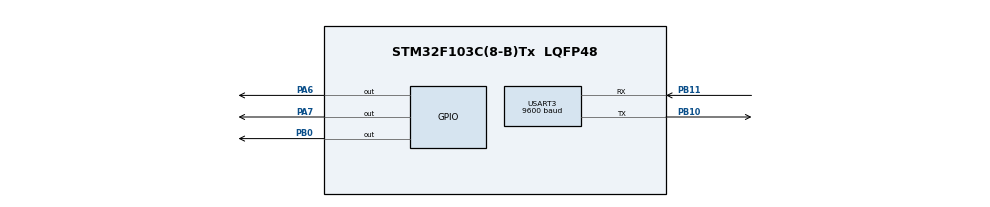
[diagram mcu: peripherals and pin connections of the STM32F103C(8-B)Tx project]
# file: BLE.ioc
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Dma.Request0=USART3_RX
Dma.Request1=USART3_TX
Dma.USART3_RX.0.Direction=DMA_PERIPH_TO_MEMORY
Dma.USART3_RX.0.Instance=DMA1_Channel3
Dma.USART3_RX.0.MemDataAlignment=DMA_MDATAALIGN_BYTE
Dma.USART3_RX.0.MemInc=DMA_MINC_ENABLE
Dma.USART3_RX.0.Mode=DMA_NORMAL
Dma.USART3_RX.0.PeriphDataAlignment=DMA_PDATAALIGN_BYTE
Dma.USART3_RX.0.PeriphInc=DMA_PINC_DISABLE
Dma.USART3_RX.0.Priority=DMA_PRIORITY_LOW
Dma.USART3_TX.1.Direction=DMA_MEMORY_TO_PERIPH
Dma.USART3_TX.1.Instance=DMA1_Channel2
Dma.USART3_TX.1.MemDataAlignment=DMA_MDATAALIGN_BYTE
Dma.USART3_TX.1.MemInc=DMA_MINC_ENABLE
Dma.USART3_TX.1.Mode=DMA_NORMAL
Dma.USART3_TX.1.PeriphDataAlignment=DMA_PDATAALIGN_BYTE
Dma.USART3_TX.1.PeriphInc=DMA_PINC_DISABLE
Dma.USART3_TX.1.Priority=DMA_PRIORITY_LOW
Mcu.Family=STM32F1
Mcu.Name=STM32F103C(8-B)Tx
Mcu.Package=LQFP48
NVIC.DMA1_Channel2_IRQn=true\:0\:0\:false\:false\:true\:false\:true\:true
NVIC.DMA1_Channel3_IRQn=true\:0\:0\:false\:false\:true\:false\:true\:true
NVIC.PriorityGroup=NVIC_PRIORITYGROUP_4
NVIC.USART3_IRQn=true\:0\:0\:false\:false\:true\:true\:true\:true
PA13.Mode=Serial_Wire
PA13.Signal=SYS_JTMS-SWDIO
PA14.Mode=Serial_Wire
PA14.Signal=SYS_JTCK-SWCLK
PA6.Signal=GPIO_Output
PA7.Signal=GPIO_Output
PB0.Signal=GPIO_Output
PB10.Mode=Asynchronous
PB10.Signal=USART3_TX
PB11.Mode=Asynchronous
PB11.Signal=USART3_RX
PD0-OSC_IN.Mode=HSE-External-Oscillator
PD0-OSC_IN.Signal=RCC_OSC_IN
PD1-OSC_OUT.Mode=HSE-External-Oscillator
PD1-OSC_OUT.Signal=RCC_OSC_OUT
ProjectManager.HeapSize=0x200
ProjectManager.StackSize=0x400
ProjectManager.TargetToolchain=MDK-ARM V5.32
RCC.APB1Freq_Value=8000000
RCC.APB2Freq_Value=8000000
USART3.BaudRate=9600
USART3.VirtualMode=VM_ASYNC
board=custom

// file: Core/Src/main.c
/* USER CODE BEGIN Header */
/**
  ******************************************************************************
  * @file           : main.c
  * @brief          : Main program body
  ******************************************************************************
  * @attention
  *
  * Copyright (c) 2026 STMicroelectronics.
  * All rights reserved.
  *
  * This software is licensed under terms that can be found in the LICENSE file
  * in the root directory of this software component.
  * If no LICENSE file comes with this software, it is provided AS-IS.
  *
  ******************************************************************************
  */
/* USER CODE END Header */
#include "main.h"
#include "dma.h"
#include "usart.h"
#include "gpio.h"

/* USER CODE BEGIN PV */
	uint8_t receivedata[50];
/* USER CODE END PV */

void SystemClock_Config(void);

/* USER CODE BEGIN 0 */
void HAL_UARTEx_RxEventCallback(UART_HandleTypeDef *huart, uint16_t Size)
{
	if(huart == &huart3)
	{
		HAL_UART_Transmit_DMA(&huart3,receivedata,Size);
		if(receivedata[0] == 0xAA)
		{
			if(receivedata[1] == Size)
			{
				uint8_t sum = 0;
				for(int i =0;i<Size -1;i++)
				{
					sum+= receivedata[i];
				}
				if(sum == receivedata[Size - 1])
				{
					for(int i =2;i<Size-1;i += 2)
					{
						GPIO_PinState state =GPIO_PIN_SET;
		if(receivedata[i+1] == 0x00)
		{
		 state = GPIO_PIN_RESET;
		}

		if(receivedata[i] == 0x01)
		{
			HAL_GPIO_WritePin(GPIOB,GPIO_PIN_0,state);
		}
		else if(receivedata[i] == 0x02)
		{
			HAL_GPIO_WritePin(GPIOA,GPIO_PIN_6, state);
		}
		else if(receivedata[i] == 0x03)
		{
			HAL_GPIO_WritePin(GPIOA,GPIO_PIN_7, state);
		}

					}
				}
			}
		}

		HAL_UARTEx_ReceiveToIdle_DMA(&huart3,receivedata,sizeof(receivedata));
		__HAL_DMA_DISABLE_IT(&hdma_usart3_rx,DMA_IT_HT);
	}
}
/* USER CODE END 0 */

int main(void)
{

  /* MCU Configuration--------------------------------------------------------*/

  /* Reset of all peripherals, Initializes the Flash interface and the Systick. */
  HAL_Init();

  /* Configure the system clock */
  SystemClock_Config();

  /* Initialize all configured peripherals */
  MX_GPIO_Init();
  MX_DMA_Init();
  MX_USART3_UART_Init();
  /* USER CODE BEGIN 2 */
	HAL_UARTEx_ReceiveToIdle_DMA(&huart3,receivedata,sizeof(receivedata));
	__HAL_DMA_DISABLE_IT(&hdma_usart3_rx,DMA_IT_HT);
  /* USER CODE END 2 */

  /* Infinite loop */
  while (1)
  {

  }
}

void SystemClock_Config(void)
{
  RCC_OscInitTypeDef RCC_OscInitStruct = {0};
  RCC_ClkInitTypeDef RCC_ClkInitStruct = {0};

  /** Initializes the RCC Oscillators according to the specified parameters
  * in the RCC_OscInitTypeDef structure.
  */
  RCC_OscInitStruct.OscillatorType = RCC_OSCILLATORTYPE_HSI;
  RCC_OscInitStruct.HSIState = RCC_HSI_ON;
  RCC_OscInitStruct.HSICalibrationValue = RCC_HSICALIBRATION_DEFAULT;
  RCC_OscInitStruct.PLL.PLLState = RCC_PLL_NONE;
  if (HAL_RCC_OscConfig(&RCC_OscInitStruct) != HAL_OK)
  {
    Error_Handler();
  }

  /** Initializes the CPU, AHB and APB buses clocks
  */
  RCC_ClkInitStruct.ClockType = RCC_CLOCKTYPE_HCLK|RCC_CLOCKTYPE_SYSCLK
                              |RCC_CLOCKTYPE_PCLK1|RCC_CLOCKTYPE_PCLK2;
  RCC_ClkInitStruct.SYSCLKSource = RCC_SYSCLKSOURCE_HSI;
  RCC_ClkInitStruct.AHBCLKDivider = RCC_SYSCLK_DIV1;
  RCC_ClkInitStruct.APB1CLKDivider = RCC_HCLK_DIV1;
  RCC_ClkInitStruct.APB2CLKDivider = RCC_HCLK_DIV1;

  if (HAL_RCC_ClockConfig(&RCC_ClkInitStruct, FLASH_LATENCY_0) != HAL_OK)
  {
    Error_Handler();
  }
}

void Error_Handler(void)
{
  __disable_irq();
  while (1)
  {
  }
}
